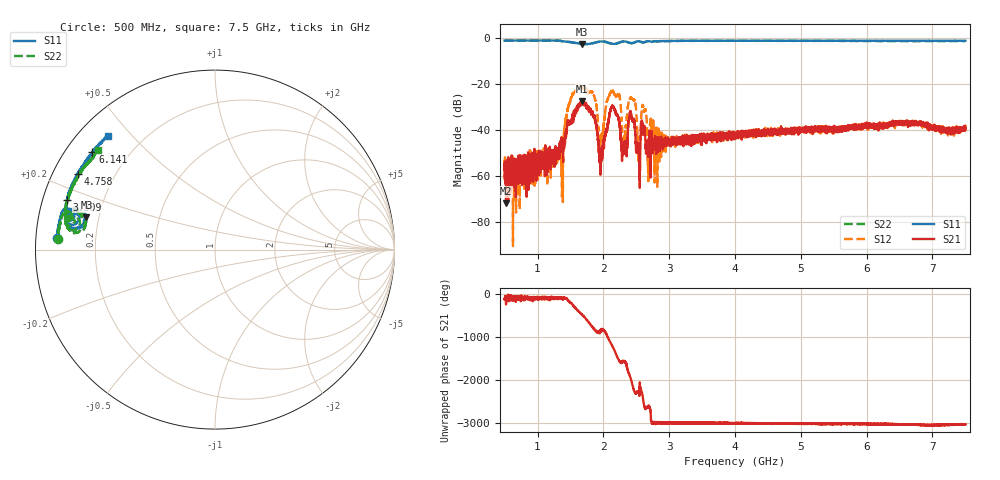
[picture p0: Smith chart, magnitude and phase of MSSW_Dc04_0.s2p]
!Keysight Technologies,M9374A,MY55442783,A.12.55.05
!Date: Wednesday, May 19, 2021 16:18:15
!Correction: S11(Full 2 Port(1,2))
!S21(Full 2 Port(1,2))
!S12(Full 2 Port(1,2))
!S22(Full 2 Port(1,2))
!S2P File: Measurements: S11, S21, S12, S22:
# Hz S  RI  R 50
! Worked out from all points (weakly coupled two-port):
!   7001 points, 500 MHz to 7.5 GHz, reference 50 ohm
!   highest |S21| = -27.48 dB at 1.678 GHz (marker M1); lowest = -71.8 dB at 522 MHz (marker M2)
!   lowest |S11| = -2.6 dB at 1.672 GHz (marker M3), VSWR 6.65, Z = 7.63 + j6.04 ohm
!   |S11| at or under -10 dB: nowhere
!   |S22| runs from -2.7 to -1.1 dB; largest |S21 - S12| = 0.056
!   S11 on the Smith chart (normalised r, x): 500 MHz: 0.06, +0.04; 3.309 GHz: 0.07, +0.16; 4.758 GHz: 0.07, +0.26; 6.141 GHz: 0.08, +0.35; 7.5 GHz: 0.08, +0.43
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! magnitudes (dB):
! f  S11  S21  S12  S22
! 500 MHz  -1.1  -57.2  -55.1  -1.1
! 522 MHz  -1.1  -71.8  -57.9  -1.1
! 1.355 GHz  -1.2  -46.3  -50.8  -1.2
! 1.483 GHz  -1.7  -36.2  -28.2  -1.8
! 1.667 GHz  -2.6  -28.9  -21.9  -2.7
! 1.672 GHz  -2.6  -28.4  -22.1  -2.7
! 1.678 GHz  -2.6  -27.5  -22.0  -2.7
! 1.857 GHz  -2.1  -34.1  -24.8  -2.2
! 1.962 GHz  -1.5  -51.2  -45.1  -1.5
! 2.133 GHz  -2.5  -29.8  -22.7  -2.5
! 2.313 GHz  -1.5  -48.4  -45.6  -1.5
! 2.432 GHz  -2.2  -34.7  -26.2  -2.3
! 2.537 GHz  -1.4  -46.0  -50.6  -1.5
! 2.614 GHz  -1.9  -38.9  -30.9  -1.9
! 2.834 GHz  -1.4  -44.8  -39.0  -1.5
! 3.309 GHz  -1.2  -43.2  -42.6  -1.3
! 4 GHz  -1.2  -41.4  -41.5  -1.3
! 4.758 GHz  -1.2  -39.7  -40.2  -1.3
! 5.167 GHz  -1.2  -39.5  -39.2  -1.2
! 6.141 GHz  -1.2  -38.6  -37.9  -1.3
! 6.334 GHz  -1.2  -38.2  -37.9  -1.3
! 7.5 GHz  -1.2  -39.3  -39.0  -1.3
